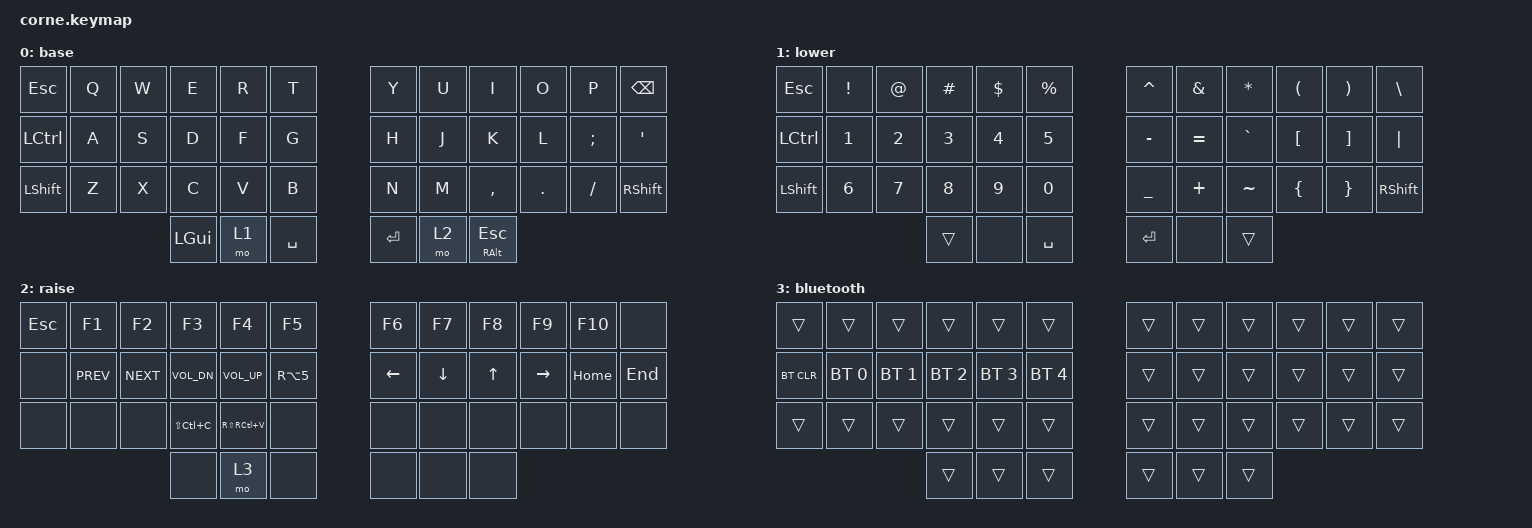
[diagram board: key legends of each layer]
/*
 * Copyright (c) 2020 The ZMK Contributors
 *
 * SPDX-License-Identifier: MIT
 */

#include <behaviors.dtsi>
#include <dt-bindings/zmk/bt.h>
#include <dt-bindings/zmk/keys.h>

/ {
    combos {
        compatible = "zmk,combos";

        caps_words {
            bindings = <&caps_word>;
            key-positions = <17 18>;
        };
    };

    behaviors {
        hmr: homewrow_mods_right {
            compatible = "zmk,behavior-hold-tap";
            label = "HOMEROW_MODS_RIGHT_HAND";
            bindings = <&kp>, <&kp>;

            #binding-cells = <2>;
            tapping-term-ms = <150>;
            hold-trigger-key-positions = <1 2 3 4 5 14 13 15 16 17 25 26 27 28 29>;
        };

        hml: homewrow_mods_left {
            compatible = "zmk,behavior-hold-tap";
            label = "HOMEROW_MODS_LEFT_HAND";
            bindings = <&kp>, <&kp>;

            #binding-cells = <2>;
            tapping-term-ms = <150>;
            hold-trigger-key-positions = <6 7 8 9 10 22 23 34 33 20 21 32 31 19 18 30>;
        };

        tp: tap_preferred {
            compatible = "zmk,behavior-hold-tap";
            label = "TP_PREFERRED";
            bindings = <&kp>, <&kp>;

            #binding-cells = <2>;
            tapping-term-ms = <150>;
            flavor = "tap-preferred";
            hold-trigger-key-positions = <1 2 3 4 5 13 14 15 16 17 25 26 27 28 29 6 7 8 9 10 22 34 33 21 20 19 18 30 31 32>;
        };
    };

    keymap {
        compatible = "zmk,keymap";

        base {
            // -----------------------------------------------------------------------------------------
            // |  TAB |  Q  |  W  |  E  |  R  |  T  |   |  Y  |  U   |  I  |  O  |  P  | BKSP |
            // | CTRL |  A  |  S  |  D  |  F  |  G  |   |  H  |  J   |  K  |  L  |  ;  |  '   |
            // | SHFT |  Z  |  X  |  C  |  V  |  B  |   |  N  |  M   |  ,  |  .  |  /  | ESC  |
            //                    | GUI | LWR | SPC |   | ENT | RSE  | ALT |

            bindings = <
&kp ESCAPE      &kp Q  &kp W  &kp E     &kp R  &kp T        &kp Y      &kp U  &kp I                 &kp O    &kp P          &kp BACKSPACE
&kp LCTRL       &kp A  &kp S  &kp D     &kp F  &kp G        &kp H      &kp J  &kp K                 &kp L    &kp SEMICOLON  &kp SQT
&kp LEFT_SHIFT  &kp Z  &kp X  &kp C     &kp V  &kp B        &kp N      &kp M  &kp COMMA             &kp DOT  &kp FSLH       &kp RIGHT_SHIFT
                              &kp LGUI  &mo 1  &kp SPACE    &kp ENTER  &mo 2  &tp RIGHT_ALT ESCAPE
            >;
        };

        lower {
            bindings = <
&kp ESCAPE      &kp EXCLAMATION  &kp AT_SIGN   &kp HASH      &kp DOLLAR    &kp PERCENT    &kp CARET       &kp AMPERSAND  &kp ASTERISK  &kp LEFT_PARENTHESIS  &kp RIGHT_PARENTHESIS  &kp BACKSLASH
&kp LCTRL       &kp NUMBER_1     &kp NUMBER_2  &kp NUMBER_3  &kp NUMBER_4  &kp N5         &kp MINUS       &kp EQUAL      &kp GRAVE     &kp LEFT_BRACKET      &kp RIGHT_BRACKET      &kp PIPE
&kp LEFT_SHIFT  &kp NUMBER_6     &kp N7        &kp N8        &kp N9        &kp N0         &kp UNDERSCORE  &kp PLUS       &kp TILDE     &kp LEFT_BRACE        &kp RIGHT_BRACE        &kp RIGHT_SHIFT
                                               &trans        &none         &kp SPACE      &kp ENTER       &none          &trans
            >;
        };

        raise {
            bindings = <
&kp ESCAPE  &kp F1      &kp F2      &kp F3         &kp F4         &kp F5        &kp F6          &kp F7          &kp F8        &kp F9           &kp F10   &none
&none       &kp C_PREV  &kp C_NEXT  &kp C_VOL_DN   &kp C_VOL_UP   &kp RA(N5)    &kp LEFT_ARROW  &kp DOWN_ARROW  &kp UP_ARROW  &kp RIGHT_ARROW  &kp HOME  &kp END
&none       &none       &none       &kp LS(LC(C))  &kp RS(RC(V))  &none         &none           &none           &none         &none            &none     &none
                                    &none          &mo 3          &none         &none           &none           &none
            >;
        };

        bluetooth {
            bindings = <
&trans      &trans        &trans        &trans        &trans        &trans          &trans  &trans  &trans  &trans  &trans  &trans
&bt BT_CLR  &bt BT_SEL 0  &bt BT_SEL 1  &bt BT_SEL 2  &bt BT_SEL 3  &bt BT_SEL 4    &trans  &trans  &trans  &trans  &trans  &trans
&trans      &trans        &trans        &trans        &trans        &trans          &trans  &trans  &trans  &trans  &trans  &trans
                                        &trans        &trans        &trans          &trans  &trans  &trans
            >;
        };
    };

    conditional_layers { compatible = "zmk,conditional-layers"; };
};
